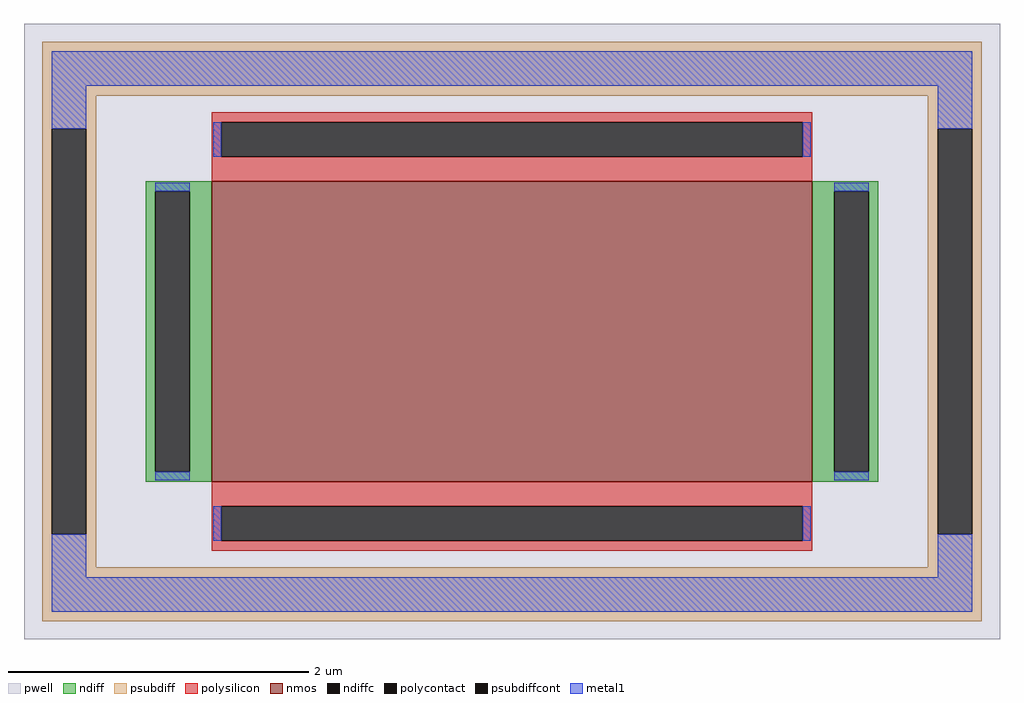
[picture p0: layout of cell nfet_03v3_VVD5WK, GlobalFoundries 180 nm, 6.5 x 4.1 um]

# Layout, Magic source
magic
tech gf180mcuD
magscale 1 10
<< pwell >>
rect -650 -410 650 410
<< nmos >>
rect -400 -200 400 200
<< ndiff >>
rect -488 187 -400 200
rect -488 -187 -475 187
rect -429 -187 -400 187
rect -488 -200 -400 -187
rect 400 187 488 200
rect 400 -187 429 187
rect 475 -187 488 187
rect 400 -200 488 -187
<< ndiffc >>
rect -475 -187 -429 187
rect 429 -187 475 187
<< psubdiff >>
rect -626 314 626 386
rect -626 270 -554 314
rect -626 -270 -613 270
rect -567 -270 -554 270
rect 554 270 626 314
rect -626 -314 -554 -270
rect 554 -270 567 270
rect 613 -270 626 270
rect 554 -314 626 -270
rect -626 -386 626 -314
<< psubdiffcont >>
rect -613 -270 -567 270
rect 567 -270 613 270
<< polysilicon >>
rect -400 279 400 292
rect -400 233 -387 279
rect 387 233 400 279
rect -400 200 400 233
rect -400 -233 400 -200
rect -400 -279 -387 -233
rect 387 -279 400 -233
rect -400 -292 400 -279
<< polycontact >>
rect -387 233 387 279
rect -387 -279 387 -233
<< metal1 >>
rect -613 327 613 373
rect -613 270 -567 327
rect -398 233 -387 279
rect 387 233 398 279
rect 567 270 613 327
rect -475 187 -429 198
rect -475 -198 -429 -187
rect 429 187 475 198
rect 429 -198 475 -187
rect -613 -327 -567 -270
rect -398 -279 -387 -233
rect 387 -279 398 -233
rect 567 -327 613 -270
rect -613 -373 613 -327
<< properties >>
string FIXED_BBOX -590 -350 590 350
string gencell nfet_03v3
string library gf180mcu
string parameters w 2.0 l 4.0 m 1 nf 1 diffcov 100 polycov 100 guard 1 glc 1 grc 1 gtc 0 gbc 0 tbcov 100 rlcov 100 topc 1 botc 1 poverlap 0 doverlap 1 lmin 0.28 wmin 0.22 full_metal 1 compatible {nfet_03v3 nfet_06v0 nfet_06v0_nvt}
<< end >>
